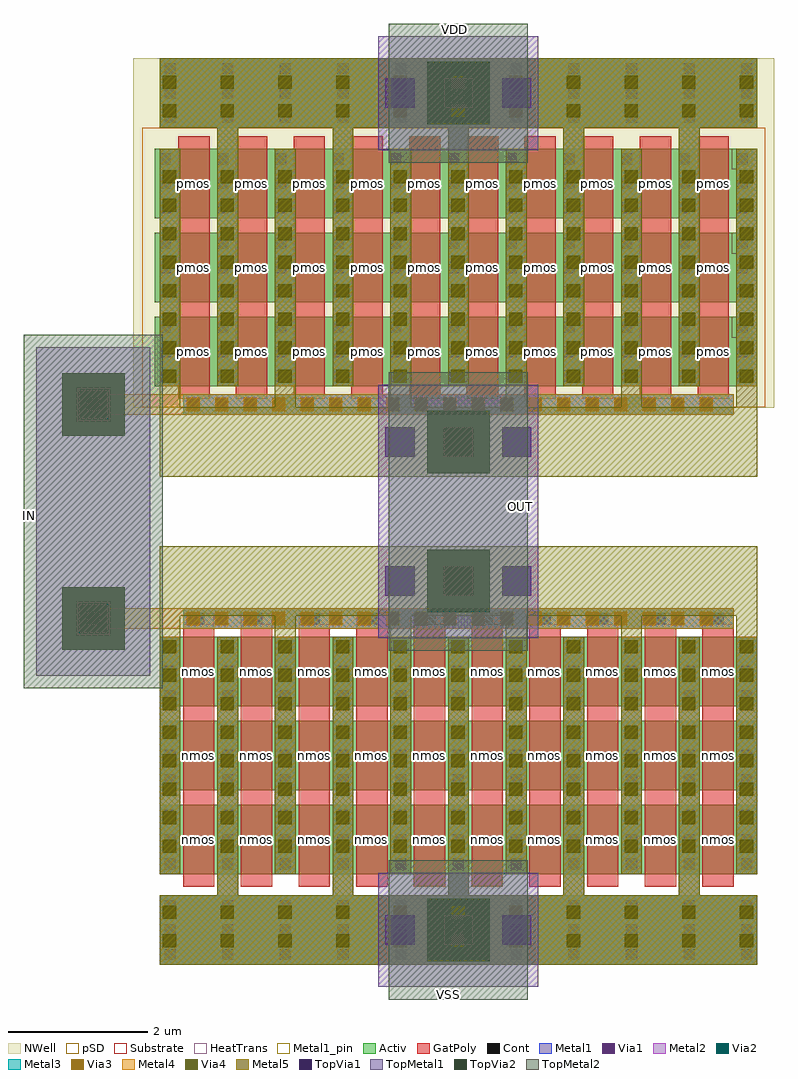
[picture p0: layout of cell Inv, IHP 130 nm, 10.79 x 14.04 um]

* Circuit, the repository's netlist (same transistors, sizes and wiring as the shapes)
* Extracted by KLayout with SG13G2 LVS runset on : 29/06/2025 18:33

.SUBCKT Inv
M$1 \$2 \$6 \$1 \$1 sg13_lv_nmos L=0.45u W=30u AS=6.15p AD=6.15p PS=45.3u
+ PD=45.3u
M$31 \$2 \$7 \$8 \$8 sg13_lv_pmos L=0.45u W=3u AS=1.02p AD=0.57p PS=8.04u
+ PD=4.14u
M$32 \$8 \$9 \$2 \$8 sg13_lv_pmos L=0.45u W=3u AS=0.57p AD=0.57p PS=4.14u
+ PD=4.14u
M$33 \$2 \$10 \$8 \$8 sg13_lv_pmos L=0.45u W=3u AS=0.57p AD=0.57p PS=4.14u
+ PD=4.14u
M$34 \$8 \$11 \$2 \$8 sg13_lv_pmos L=0.45u W=3u AS=0.57p AD=0.57p PS=4.14u
+ PD=4.14u
M$35 \$2 \$12 \$8 \$8 sg13_lv_pmos L=0.45u W=3u AS=0.57p AD=0.57p PS=4.14u
+ PD=4.14u
M$36 \$8 \$13 \$2 \$8 sg13_lv_pmos L=0.45u W=3u AS=0.57p AD=0.57p PS=4.14u
+ PD=4.14u
M$37 \$2 \$14 \$8 \$8 sg13_lv_pmos L=0.45u W=3u AS=0.57p AD=0.57p PS=4.14u
+ PD=4.14u
M$38 \$8 \$15 \$2 \$8 sg13_lv_pmos L=0.45u W=3u AS=0.57p AD=0.57p PS=4.14u
+ PD=4.14u
M$39 \$2 \$16 \$8 \$8 sg13_lv_pmos L=0.45u W=3u AS=0.57p AD=0.57p PS=4.14u
+ PD=4.14u
M$40 \$8 \$17 \$2 \$8 sg13_lv_pmos L=0.45u W=3u AS=0.57p AD=1.02p PS=4.14u
+ PD=8.04u
.ENDS Inv

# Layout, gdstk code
import gdstk
lib = gdstk.Library(unit=1e-6, precision=1e-09)
def R(c, l, rs):  # rectangles x0, y0, x1, y1
    for r in rs: c.add(gdstk.rectangle(r[:2], r[2:], *l))
def A(c, l, x, y, w, h, nx, ny, dx, dy):  # array of equal rectangles
    R(c, l, [(x+i*dx, y+j*dy, x+i*dx+w, y+j*dy+h) for i in range(nx) for j in range(ny)])
def P(c, l, *ps):  # polygons
    for p in ps: c.add(gdstk.Polygon(p, *l))
Activ = (1, 0)
GatPoly = (5, 0)
Cont = (6, 0)
Metal1 = (8, 0)
Metal1_pin = (8, 2)
Metal2 = (10, 0)
pSD = (14, 0)
Via1 = (19, 0)
Via2 = (29, 0)
Metal3 = (30, 0)
NWell = (31, 0)
Substrate = (40, 0)
Via3 = (49, 0)
Metal4 = (50, 0)
HeatTrans = (51, 0)
Via4 = (66, 0)
Metal5 = (67, 0)
TopVia1 = (125, 0)
TopMetal1 = (126, 0)
TopVia2 = (133, 0)
TopMetal2 = (134, 0)

inv = lib.new_cell('Inv')
A(inv, Activ, 67.275, -5.04, 0.3, 0.3, 11, 3, 0.83, 1.21)
A(inv, Activ, 67.275, -5.04, 8.6, 1, 1, 3, 0, 1.21)
A(inv, Activ, 67.205, 1.98, 8.6, 1, 1, 3, 0, 1.21)
A(inv, Activ, 67.205, 2.68, 0.3, 0.3, 11, 3, 0.83, 1.21)
R(inv, Activ, [(67.275,-6.34,75.875,-5.34), (67.275,5.7,75.875,6.7)])
A(inv, GatPoly, 67.615, -5.22, 0.45, 1.36, 10, 3, 0.83, 1.21)
A(inv, GatPoly, 67.615, -1.44, 0.45, 0.16, 10, 1, 0.83, 0)
A(inv, GatPoly, 67.545, 1.8, 0.45, 1.36, 1, 3, 0, 1.21)
A(inv, GatPoly, 67.545, 1.8, 0.45, 1.36, 10, 3, 0.83, 1.21)
A(inv, Cont, 67.345, -6.27, 0.16, 0.16, 11, 3, 0.83, 0.35)
A(inv, Cont, 67.345, -4.97, 0.16, 0.16, 11, 3, 0.83, 0.35)
A(inv, Cont, 67.345, -3.76, 0.16, 0.16, 11, 3, 0.83, 0.35)
A(inv, Cont, 67.345, -2.55, 0.16, 0.16, 11, 3, 0.83, 0.35)
A(inv, Cont, 67.76, -1.44, 0.16, 0.16, 10, 1, 0.83, 0)
A(inv, Cont, 67.275, 2.05, 0.16, 0.16, 11, 3, 0.83, 0.35)
A(inv, Cont, 67.275, 3.26, 0.16, 0.16, 11, 3, 0.83, 0.35)
A(inv, Cont, 67.275, 4.47, 0.16, 0.16, 11, 3, 0.83, 0.35)
A(inv, Cont, 67.345, 5.77, 0.16, 0.16, 11, 3, 0.83, 0.35)
A(inv, Metal1, 67.275, -5.04, 0.3, 3.42, 6, 2, 1.66, 7.02)
R(inv, Metal1, [(67.615,-1.51,75.535,-1.21), (67.615,1.57,75.535,1.87)])
P(inv, Metal1, [(67.275,-6.34),(67.275,-5.34),(68.105,-5.34),(68.105,-1.62),(68.405,-1.62),(68.405,-5.34),(69.765,-5.34),(69.765,-1.62),(70.065,-1.62),(70.065,-5.34),(71.425,-5.34),(71.425,-1.62),(71.725,-1.62),(71.725,-5.34),(73.085,-5.34),(73.085,-1.62),(73.385,-1.62),(73.385,-5.34),(74.745,-5.34),(74.745,-1.62),(75.045,-1.62),(75.045,-5.34),(75.875,-5.34),(75.875,-6.34)],
  [(68.105,1.98),(68.105,5.7),(67.275,5.7),(67.275,6.7),(75.875,6.7),(75.875,5.7),(75.045,5.7),(75.045,1.98),(74.745,1.98),(74.745,5.7),(73.385,5.7),(73.385,1.98),(73.085,1.98),(73.085,5.7),(71.725,5.7),(71.725,1.98),(71.425,1.98),(71.425,5.7),(70.065,5.7),(70.065,1.98),(69.765,1.98),(69.765,5.7),(68.405,5.7),(68.405,1.98)])
A(inv, Metal1_pin, 67.345, -5.04, 0.16, 1, 1, 3, 0, 1.21)
A(inv, Metal1_pin, 68.175, -5.04, 0.16, 1, 1, 3, 0, 1.21)
R(inv, Metal1_pin, [(67.345,-2.62,67.505,-1.62)])
A(inv, Metal2, 67.275, -5.04, 0.3, 3.42, 6, 2, 1.66, 7.02)
R(inv, Metal2, [(67.615,-1.51,75.535,-1.21), (67.615,1.57,75.535,1.87)])
P(inv, Metal2, [(67.275,-6.34),(67.275,-5.34),(68.105,-5.34),(68.105,-1.62),(68.405,-1.62),(68.405,-5.34),(69.765,-5.34),(69.765,-1.62),(70.065,-1.62),(70.065,-5.34),(71.425,-5.34),(71.425,-1.62),(71.725,-1.62),(71.725,-5.34),(73.085,-5.34),(73.085,-1.62),(73.385,-1.62),(73.385,-5.34),(74.745,-5.34),(74.745,-1.62),(75.045,-1.62),(75.045,-5.34),(75.875,-5.34),(75.875,-6.34)],
  [(68.105,1.98),(68.105,5.7),(67.275,5.7),(67.275,6.7),(75.875,6.7),(75.875,5.7),(75.045,5.7),(75.045,1.98),(74.745,1.98),(74.745,5.7),(73.385,5.7),(73.385,1.98),(73.085,1.98),(73.085,5.7),(71.725,5.7),(71.725,1.98),(71.425,1.98),(71.425,5.7),(70.065,5.7),(70.065,1.98),(69.765,1.98),(69.765,5.7),(68.405,5.7),(68.405,1.98)])
A(inv, pSD, 67.025, 1.68, 8.96, 1.6, 1, 3, 0, 1.21)
R(inv, pSD, [(67.275,-6.34,75.875,-5.34)])
A(inv, Via1, 67.325, -6.09, 0.19, 0.19, 11, 2, 0.83, 0.41)
A(inv, Via1, 67.325, -4.73, 0.19, 0.19, 11, 8, 0.83, 0.41)
A(inv, Via1, 67.325, 2.03, 0.19, 0.19, 11, 8, 0.83, 0.41)
A(inv, Via1, 67.325, 5.85, 0.19, 0.19, 11, 2, 0.83, 0.41)
R(inv, Via1, [(67.665,-1.455,67.855,-1.265), (68.075,-1.455,68.265,-1.265), (68.075,-1.455,68.265,-1.265), (68.075,-1.455,68.265,-1.265), (68.485,-1.455,68.675,-1.265), (68.485,-1.455,68.675,-1.265), (68.485,-1.455,68.675,-1.265), (68.895,-1.455,69.085,-1.265), (68.895,-1.455,69.085,-1.265), (68.895,-1.455,69.085,-1.265), (69.305,-1.455,69.495,-1.265), (69.305,-1.455,69.495,-1.265), (69.305,-1.455,69.495,-1.265), (69.715,-1.455,69.905,-1.265), (69.715,-1.455,69.905,-1.265), (69.715,-1.455,69.905,-1.265), (70.125,-1.455,70.315,-1.265), (70.125,-1.455,70.315,-1.265), (70.125,-1.455,70.315,-1.265), (70.535,-1.455,70.725,-1.265), (70.535,-1.455,70.725,-1.265), (70.535,-1.455,70.725,-1.265), (70.945,-1.455,71.135,-1.265), (70.945,-1.455,71.135,-1.265), (70.945,-1.455,71.135,-1.265), (71.355,-1.455,71.545,-1.265), (71.355,-1.455,71.545,-1.265), (71.765,-1.455,71.955,-1.265), (71.765,-1.455,71.955,-1.265), (72.175,-1.455,72.365,-1.265), (72.175,-1.455,72.365,-1.265), (72.585,-1.455,72.775,-1.265), (72.585,-1.455,72.775,-1.265), (72.995,-1.455,73.185,-1.265), (72.995,-1.455,73.185,-1.265), (73.405,-1.455,73.595,-1.265), (73.405,-1.455,73.595,-1.265), (73.815,-1.455,74.005,-1.265), (73.815,-1.455,74.005,-1.265), (74.225,-1.455,74.415,-1.265), (74.225,-1.455,74.415,-1.265), (74.635,-1.455,74.825,-1.265), (74.635,-1.455,74.825,-1.265), (75.045,-1.455,75.235,-1.265), (67.665,1.625,67.855,1.815), (68.075,1.625,68.265,1.815), (68.075,1.625,68.265,1.815), (68.075,1.625,68.265,1.815), (68.485,1.625,68.675,1.815), (68.485,1.625,68.675,1.815), (68.485,1.625,68.675,1.815), (68.895,1.625,69.085,1.815), (68.895,1.625,69.085,1.815), (68.895,1.625,69.085,1.815), (69.305,1.625,69.495,1.815), (69.305,1.625,69.495,1.815), (69.305,1.625,69.495,1.815), (69.715,1.625,69.905,1.815), (69.715,1.625,69.905,1.815), (69.715,1.625,69.905,1.815), (70.125,1.625,70.315,1.815), (70.125,1.625,70.315,1.815), (70.125,1.625,70.315,1.815), (70.535,1.625,70.725,1.815), (70.535,1.625,70.725,1.815), (70.535,1.625,70.725,1.815), (70.945,1.625,71.135,1.815), (70.945,1.625,71.135,1.815), (70.945,1.625,71.135,1.815), (71.355,1.625,71.545,1.815), (71.355,1.625,71.545,1.815), (71.765,1.625,71.955,1.815), (71.765,1.625,71.955,1.815), (72.175,1.625,72.365,1.815), (72.175,1.625,72.365,1.815), (72.585,1.625,72.775,1.815), (72.585,1.625,72.775,1.815), (72.995,1.625,73.185,1.815), (72.995,1.625,73.185,1.815), (73.405,1.625,73.595,1.815), (73.405,1.625,73.595,1.815), (73.815,1.625,74.005,1.815), (73.815,1.625,74.005,1.815), (74.225,1.625,74.415,1.815), (74.225,1.625,74.415,1.815), (74.635,1.625,74.825,1.815), (74.635,1.625,74.825,1.815), (75.045,1.625,75.235,1.815)])
A(inv, Via2, 67.325, -6.09, 0.19, 0.19, 11, 2, 0.83, 0.41)
A(inv, Via2, 67.325, -4.73, 0.19, 0.19, 11, 8, 0.83, 0.41)
A(inv, Via2, 67.325, 2.03, 0.19, 0.19, 11, 8, 0.83, 0.41)
A(inv, Via2, 67.325, 5.85, 0.19, 0.19, 11, 2, 0.83, 0.41)
R(inv, Via2, [(67.665,-1.455,67.855,-1.265), (68.075,-1.455,68.265,-1.265), (68.075,-1.455,68.265,-1.265), (68.075,-1.455,68.265,-1.265), (68.485,-1.455,68.675,-1.265), (68.485,-1.455,68.675,-1.265), (68.485,-1.455,68.675,-1.265), (68.895,-1.455,69.085,-1.265), (68.895,-1.455,69.085,-1.265), (68.895,-1.455,69.085,-1.265), (69.305,-1.455,69.495,-1.265), (69.305,-1.455,69.495,-1.265), (69.305,-1.455,69.495,-1.265), (69.715,-1.455,69.905,-1.265), (69.715,-1.455,69.905,-1.265), (69.715,-1.455,69.905,-1.265), (70.125,-1.455,70.315,-1.265), (70.125,-1.455,70.315,-1.265), (70.125,-1.455,70.315,-1.265), (70.535,-1.455,70.725,-1.265), (70.535,-1.455,70.725,-1.265), (70.535,-1.455,70.725,-1.265), (70.945,-1.455,71.135,-1.265), (70.945,-1.455,71.135,-1.265), (70.945,-1.455,71.135,-1.265), (71.355,-1.455,71.545,-1.265), (71.355,-1.455,71.545,-1.265), (71.765,-1.455,71.955,-1.265), (71.765,-1.455,71.955,-1.265), (72.175,-1.455,72.365,-1.265), (72.175,-1.455,72.365,-1.265), (72.585,-1.455,72.775,-1.265), (72.585,-1.455,72.775,-1.265), (72.995,-1.455,73.185,-1.265), (72.995,-1.455,73.185,-1.265), (73.405,-1.455,73.595,-1.265), (73.405,-1.455,73.595,-1.265), (73.815,-1.455,74.005,-1.265), (73.815,-1.455,74.005,-1.265), (74.225,-1.455,74.415,-1.265), (74.225,-1.455,74.415,-1.265), (74.635,-1.455,74.825,-1.265), (74.635,-1.455,74.825,-1.265), (75.045,-1.455,75.235,-1.265), (67.665,1.625,67.855,1.815), (68.075,1.625,68.265,1.815), (68.075,1.625,68.265,1.815), (68.075,1.625,68.265,1.815), (68.485,1.625,68.675,1.815), (68.485,1.625,68.675,1.815), (68.485,1.625,68.675,1.815), (68.895,1.625,69.085,1.815), (68.895,1.625,69.085,1.815), (68.895,1.625,69.085,1.815), (69.305,1.625,69.495,1.815), (69.305,1.625,69.495,1.815), (69.305,1.625,69.495,1.815), (69.715,1.625,69.905,1.815), (69.715,1.625,69.905,1.815), (69.715,1.625,69.905,1.815), (70.125,1.625,70.315,1.815), (70.125,1.625,70.315,1.815), (70.125,1.625,70.315,1.815), (70.535,1.625,70.725,1.815), (70.535,1.625,70.725,1.815), (70.535,1.625,70.725,1.815), (70.945,1.625,71.135,1.815), (70.945,1.625,71.135,1.815), (70.945,1.625,71.135,1.815), (71.355,1.625,71.545,1.815), (71.355,1.625,71.545,1.815), (71.765,1.625,71.955,1.815), (71.765,1.625,71.955,1.815), (72.175,1.625,72.365,1.815), (72.175,1.625,72.365,1.815), (72.585,1.625,72.775,1.815), (72.585,1.625,72.775,1.815), (72.995,1.625,73.185,1.815), (72.995,1.625,73.185,1.815), (73.405,1.625,73.595,1.815), (73.405,1.625,73.595,1.815), (73.815,1.625,74.005,1.815), (73.815,1.625,74.005,1.815), (74.225,1.625,74.415,1.815), (74.225,1.625,74.415,1.815), (74.635,1.625,74.825,1.815), (74.635,1.625,74.825,1.815), (75.045,1.625,75.235,1.815)])
A(inv, Metal3, 67.275, -5.04, 0.3, 3.42, 6, 2, 1.66, 7.02)
R(inv, Metal3, [(67.615,-1.51,75.535,-1.21), (67.615,1.57,75.535,1.87)])
P(inv, Metal3, [(67.275,-6.34),(67.275,-5.34),(68.105,-5.34),(68.105,-1.62),(68.405,-1.62),(68.405,-5.34),(69.765,-5.34),(69.765,-1.62),(70.065,-1.62),(70.065,-5.34),(71.425,-5.34),(71.425,-1.62),(71.725,-1.62),(71.725,-5.34),(73.085,-5.34),(73.085,-1.62),(73.385,-1.62),(73.385,-5.34),(74.745,-5.34),(74.745,-1.62),(75.045,-1.62),(75.045,-5.34),(75.875,-5.34),(75.875,-6.34)],
  [(68.105,1.98),(68.105,5.7),(67.275,5.7),(67.275,6.7),(75.875,6.7),(75.875,5.7),(75.045,5.7),(75.045,1.98),(74.745,1.98),(74.745,5.7),(73.385,5.7),(73.385,1.98),(73.085,1.98),(73.085,5.7),(71.725,5.7),(71.725,1.98),(71.425,1.98),(71.425,5.7),(70.065,5.7),(70.065,1.98),(69.765,1.98),(69.765,5.7),(68.405,5.7),(68.405,1.98)])
R(inv, NWell, [(66.895,1.67,76.115,6.7)])
A(inv, Substrate, 75.505, 2.68, 0.3, 0.3, 1, 3, 0, 1.21)
A(inv, Via3, 67.325, -6.09, 0.19, 0.19, 11, 2, 0.83, 0.41)
A(inv, Via3, 67.325, -4.73, 0.19, 0.19, 11, 8, 0.83, 0.41)
A(inv, Via3, 67.325, 2.03, 0.19, 0.19, 11, 8, 0.83, 0.41)
A(inv, Via3, 67.325, 5.85, 0.19, 0.19, 11, 2, 0.83, 0.41)
R(inv, Via3, [(67.665,-1.455,67.855,-1.265), (68.075,-1.455,68.265,-1.265), (68.075,-1.455,68.265,-1.265), (68.075,-1.455,68.265,-1.265), (68.485,-1.455,68.675,-1.265), (68.485,-1.455,68.675,-1.265), (68.485,-1.455,68.675,-1.265), (68.895,-1.455,69.085,-1.265), (68.895,-1.455,69.085,-1.265), (68.895,-1.455,69.085,-1.265), (69.305,-1.455,69.495,-1.265), (69.305,-1.455,69.495,-1.265), (69.305,-1.455,69.495,-1.265), (69.715,-1.455,69.905,-1.265), (69.715,-1.455,69.905,-1.265), (69.715,-1.455,69.905,-1.265), (70.125,-1.455,70.315,-1.265), (70.125,-1.455,70.315,-1.265), (70.125,-1.455,70.315,-1.265), (70.535,-1.455,70.725,-1.265), (70.535,-1.455,70.725,-1.265), (70.535,-1.455,70.725,-1.265), (70.945,-1.455,71.135,-1.265), (70.945,-1.455,71.135,-1.265), (70.945,-1.455,71.135,-1.265), (71.355,-1.455,71.545,-1.265), (71.355,-1.455,71.545,-1.265), (71.765,-1.455,71.955,-1.265), (71.765,-1.455,71.955,-1.265), (72.175,-1.455,72.365,-1.265), (72.175,-1.455,72.365,-1.265), (72.585,-1.455,72.775,-1.265), (72.585,-1.455,72.775,-1.265), (72.995,-1.455,73.185,-1.265), (72.995,-1.455,73.185,-1.265), (73.405,-1.455,73.595,-1.265), (73.405,-1.455,73.595,-1.265), (73.815,-1.455,74.005,-1.265), (73.815,-1.455,74.005,-1.265), (74.225,-1.455,74.415,-1.265), (74.225,-1.455,74.415,-1.265), (74.635,-1.455,74.825,-1.265), (74.635,-1.455,74.825,-1.265), (75.045,-1.455,75.235,-1.265), (67.665,1.625,67.855,1.815), (68.075,1.625,68.265,1.815), (68.075,1.625,68.265,1.815), (68.075,1.625,68.265,1.815), (68.485,1.625,68.675,1.815), (68.485,1.625,68.675,1.815), (68.485,1.625,68.675,1.815), (68.895,1.625,69.085,1.815), (68.895,1.625,69.085,1.815), (68.895,1.625,69.085,1.815), (69.305,1.625,69.495,1.815), (69.305,1.625,69.495,1.815), (69.305,1.625,69.495,1.815), (69.715,1.625,69.905,1.815), (69.715,1.625,69.905,1.815), (69.715,1.625,69.905,1.815), (70.125,1.625,70.315,1.815), (70.125,1.625,70.315,1.815), (70.125,1.625,70.315,1.815), (70.535,1.625,70.725,1.815), (70.535,1.625,70.725,1.815), (70.535,1.625,70.725,1.815), (70.945,1.625,71.135,1.815), (70.945,1.625,71.135,1.815), (70.945,1.625,71.135,1.815), (71.355,1.625,71.545,1.815), (71.355,1.625,71.545,1.815), (71.765,1.625,71.955,1.815), (71.765,1.625,71.955,1.815), (72.175,1.625,72.365,1.815), (72.175,1.625,72.365,1.815), (72.585,1.625,72.775,1.815), (72.585,1.625,72.775,1.815), (72.995,1.625,73.185,1.815), (72.995,1.625,73.185,1.815), (73.405,1.625,73.595,1.815), (73.405,1.625,73.595,1.815), (73.815,1.625,74.005,1.815), (73.815,1.625,74.005,1.815), (74.225,1.625,74.415,1.815), (74.225,1.625,74.415,1.815), (74.635,1.625,74.825,1.815), (74.635,1.625,74.825,1.815), (75.045,1.625,75.235,1.815)])
A(inv, Metal4, 67.275, -5.04, 0.3, 3.42, 6, 2, 1.66, 7.02)
P(inv, Metal4, [(67.275,-6.34),(67.275,-5.34),(68.105,-5.34),(68.105,-1.62),(68.405,-1.62),(68.405,-5.34),(69.765,-5.34),(69.765,-1.62),(70.065,-1.62),(70.065,-5.34),(71.425,-5.34),(71.425,-1.62),(71.725,-1.62),(71.725,-5.34),(73.085,-5.34),(73.085,-1.62),(73.385,-1.62),(73.385,-5.34),(74.745,-5.34),(74.745,-1.62),(75.045,-1.62),(75.045,-5.34),(75.875,-5.34),(75.875,-6.34)],
  [(66.075,-1.61),(66.075,-1.11),(66.575,-1.11),(66.575,-1.21),(75.535,-1.21),(75.535,-1.51),(66.575,-1.51),(66.575,-1.61)],
  [(66.075,1.47),(66.075,1.97),(66.575,1.97),(66.575,1.87),(75.535,1.87),(75.535,1.57),(66.575,1.57),(66.575,1.47)],
  [(68.105,1.98),(68.105,5.7),(67.275,5.7),(67.275,6.7),(75.875,6.7),(75.875,5.7),(75.045,5.7),(75.045,1.98),(74.745,1.98),(74.745,5.7),(73.385,5.7),(73.385,1.98),(73.085,1.98),(73.085,5.7),(71.725,5.7),(71.725,1.98),(71.425,1.98),(71.425,5.7),(70.065,5.7),(70.065,1.98),(69.765,1.98),(69.765,5.7),(68.405,5.7),(68.405,1.98)])
A(inv, HeatTrans, 67.615, -5.22, 0.45, 1.36, 10, 3, 0.83, 1.21)
A(inv, HeatTrans, 67.545, 1.8, 0.45, 1.36, 10, 3, 0.83, 1.21)
A(inv, Via4, 67.325, -6.09, 0.19, 0.19, 11, 2, 0.83, 0.41)
A(inv, Via4, 67.325, -4.73, 0.19, 0.19, 11, 8, 0.83, 0.41)
A(inv, Via4, 67.325, 2.03, 0.19, 0.19, 11, 8, 0.83, 0.41)
A(inv, Via4, 67.325, 5.85, 0.19, 0.19, 11, 2, 0.83, 0.41)
R(inv, Via4, [(66.23,-1.455,66.42,-1.265), (66.23,1.625,66.42,1.815)])
R(inv, Metal5, [(66.075,-1.61,66.575,-1.11), (66.075,1.47,66.575,1.97)])
P(inv, Metal5, [(67.275,-6.34),(67.275,-5.34),(68.105,-5.34),(68.105,-1.62),(68.405,-1.62),(68.405,-5.34),(69.765,-5.34),(69.765,-1.62),(70.065,-1.62),(70.065,-5.34),(71.425,-5.34),(71.425,-1.62),(71.725,-1.62),(71.725,-5.34),(73.085,-5.34),(73.085,-1.62),(73.385,-1.62),(73.385,-5.34),(74.745,-5.34),(74.745,-1.62),(75.045,-1.62),(75.045,-5.34),(75.875,-5.34),(75.875,-6.34)],
  [(67.275,-5.04),(67.275,-0.32),(75.875,-0.32),(75.875,-5.04),(75.575,-5.04),(75.575,-1.32),(74.215,-1.32),(74.215,-5.04),(73.915,-5.04),(73.915,-1.32),(72.555,-1.32),(72.555,-5.04),(72.255,-5.04),(72.255,-1.32),(70.895,-1.32),(70.895,-5.04),(70.595,-5.04),(70.595,-1.32),(69.235,-1.32),(69.235,-5.04),(68.935,-5.04),(68.935,-1.32),(67.575,-1.32),(67.575,-5.04)],
  [(67.275,0.68),(67.275,5.4),(67.575,5.4),(67.575,1.68),(68.935,1.68),(68.935,5.4),(69.235,5.4),(69.235,1.68),(70.595,1.68),(70.595,5.4),(70.895,5.4),(70.895,1.68),(72.255,1.68),(72.255,5.4),(72.555,5.4),(72.555,1.68),(73.915,1.68),(73.915,5.4),(74.215,5.4),(74.215,1.68),(75.575,1.68),(75.575,5.4),(75.875,5.4),(75.875,0.68)],
  [(68.105,1.98),(68.105,5.7),(67.275,5.7),(67.275,6.7),(75.875,6.7),(75.875,5.7),(75.045,5.7),(75.045,1.98),(74.745,1.98),(74.745,5.7),(73.385,5.7),(73.385,1.98),(73.085,1.98),(73.085,5.7),(71.725,5.7),(71.725,1.98),(71.425,1.98),(71.425,5.7),(70.065,5.7),(70.065,1.98),(69.765,1.98),(69.765,5.7),(68.405,5.7),(68.405,1.98)])
A(inv, TopVia1, 70.525, -6.05, 0.42, 0.42, 3, 2, 0.84, 5.02)
A(inv, TopVia1, 70.525, 0.97, 0.42, 0.42, 3, 2, 0.84, 5.02)
R(inv, TopVia1, [(66.115,-1.57,66.535,-1.15), (66.115,1.51,66.535,1.93)])
R(inv, TopMetal1, [(70.425,-6.66,72.725,-5.02), (65.505,-2.18,67.145,2.54), (70.425,-1.64,72.725,2), (70.425,5.38,72.725,7.02)])
R(inv, TopVia2, [(71.125,-6.29,72.025,-5.39), (65.875,-1.81,66.775,-0.91), (71.125,-1.27,72.025,-0.37), (71.125,0.73,72.025,1.63), (65.875,1.27,66.775,2.17), (71.125,5.75,72.025,6.65)])
R(inv, TopMetal2, [(70.575,-6.84,72.575,-4.84), (65.325,-2.36,67.325,2.72), (70.575,-1.82,72.575,2.18), (70.575,5.2,72.575,7.2)])
inv.add(gdstk.Label('pmos', (67.77,4.9), layer=63, texttype=0))
inv.add(gdstk.Label('pmos', (67.77,3.69), layer=63, texttype=0))
inv.add(gdstk.Label('pmos', (67.77,2.48), layer=63, texttype=0))
inv.add(gdstk.Label('nmos', (67.84,-4.54), layer=63, texttype=0))
inv.add(gdstk.Label('nmos', (67.84,-3.33), layer=63, texttype=0))
inv.add(gdstk.Label('nmos', (67.84,-2.12), layer=63, texttype=0))
inv.add(gdstk.Label('pmos', (71.09,4.9), layer=51, texttype=0))
inv.add(gdstk.Label('pmos', (71.92,4.9), layer=51, texttype=0))
inv.add(gdstk.Label('pmos', (72.75,4.9), layer=51, texttype=0))
inv.add(gdstk.Label('pmos', (73.58,4.9), layer=51, texttype=0))
inv.add(gdstk.Label('pmos', (74.41,4.9), layer=51, texttype=0))
inv.add(gdstk.Label('pmos', (75.24,4.9), layer=51, texttype=0))
inv.add(gdstk.Label('pmos', (67.77,3.69), layer=51, texttype=0))
inv.add(gdstk.Label('pmos', (67.77,2.48), layer=51, texttype=0))
inv.add(gdstk.Label('pmos', (68.6,3.69), layer=51, texttype=0))
inv.add(gdstk.Label('pmos', (68.6,2.48), layer=51, texttype=0))
inv.add(gdstk.Label('pmos', (69.43,3.69), layer=51, texttype=0))
inv.add(gdstk.Label('pmos', (69.43,2.48), layer=51, texttype=0))
inv.add(gdstk.Label('pmos', (70.26,3.69), layer=51, texttype=0))
inv.add(gdstk.Label('pmos', (70.26,2.48), layer=51, texttype=0))
inv.add(gdstk.Label('pmos', (71.09,3.69), layer=51, texttype=0))
inv.add(gdstk.Label('pmos', (71.09,2.48), layer=51, texttype=0))
inv.add(gdstk.Label('pmos', (71.92,3.69), layer=51, texttype=0))
inv.add(gdstk.Label('pmos', (71.92,2.48), layer=51, texttype=0))
inv.add(gdstk.Label('pmos', (72.75,3.69), layer=51, texttype=0))
inv.add(gdstk.Label('pmos', (72.75,2.48), layer=51, texttype=0))
inv.add(gdstk.Label('pmos', (73.58,3.69), layer=51, texttype=0))
inv.add(gdstk.Label('pmos', (73.58,2.48), layer=51, texttype=0))
inv.add(gdstk.Label('pmos', (74.41,3.69), layer=51, texttype=0))
inv.add(gdstk.Label('pmos', (74.41,2.48), layer=51, texttype=0))
inv.add(gdstk.Label('pmos', (75.24,3.69), layer=51, texttype=0))
inv.add(gdstk.Label('pmos', (75.24,2.48), layer=51, texttype=0))
inv.add(gdstk.Label('pmos', (67.77,4.9), layer=51, texttype=0))
inv.add(gdstk.Label('pmos', (68.6,4.9), layer=51, texttype=0))
inv.add(gdstk.Label('pmos', (69.43,4.9), layer=51, texttype=0))
inv.add(gdstk.Label('pmos', (70.26,4.9), layer=51, texttype=0))
inv.add(gdstk.Label('nmos', (67.84,-3.33), layer=51, texttype=0))
inv.add(gdstk.Label('nmos', (67.84,-2.12), layer=51, texttype=0))
inv.add(gdstk.Label('nmos', (75.31,-4.54), layer=51, texttype=0))
inv.add(gdstk.Label('nmos', (74.48,-4.54), layer=51, texttype=0))
inv.add(gdstk.Label('nmos', (73.65,-4.54), layer=51, texttype=0))
inv.add(gdstk.Label('nmos', (72.82,-4.54), layer=51, texttype=0))
inv.add(gdstk.Label('nmos', (71.99,-4.54), layer=51, texttype=0))
inv.add(gdstk.Label('nmos', (71.16,-4.54), layer=51, texttype=0))
inv.add(gdstk.Label('nmos', (70.33,-4.54), layer=51, texttype=0))
inv.add(gdstk.Label('nmos', (69.5,-4.54), layer=51, texttype=0))
inv.add(gdstk.Label('nmos', (68.67,-4.54), layer=51, texttype=0))
inv.add(gdstk.Label('nmos', (67.84,-4.54), layer=51, texttype=0))
inv.add(gdstk.Label('nmos', (75.31,-3.33), layer=51, texttype=0))
inv.add(gdstk.Label('nmos', (75.31,-2.12), layer=51, texttype=0))
inv.add(gdstk.Label('nmos', (74.48,-3.33), layer=51, texttype=0))
inv.add(gdstk.Label('nmos', (74.48,-2.12), layer=51, texttype=0))
inv.add(gdstk.Label('nmos', (73.65,-3.33), layer=51, texttype=0))
inv.add(gdstk.Label('nmos', (73.65,-2.12), layer=51, texttype=0))
inv.add(gdstk.Label('nmos', (72.82,-3.33), layer=51, texttype=0))
inv.add(gdstk.Label('nmos', (72.82,-2.12), layer=51, texttype=0))
inv.add(gdstk.Label('nmos', (71.99,-3.33), layer=51, texttype=0))
inv.add(gdstk.Label('nmos', (71.99,-2.12), layer=51, texttype=0))
inv.add(gdstk.Label('nmos', (71.16,-3.33), layer=51, texttype=0))
inv.add(gdstk.Label('nmos', (71.16,-2.12), layer=51, texttype=0))
inv.add(gdstk.Label('nmos', (70.33,-3.33), layer=51, texttype=0))
inv.add(gdstk.Label('nmos', (70.33,-2.12), layer=51, texttype=0))
inv.add(gdstk.Label('nmos', (69.5,-3.33), layer=51, texttype=0))
inv.add(gdstk.Label('nmos', (69.5,-2.12), layer=51, texttype=0))
inv.add(gdstk.Label('nmos', (68.67,-3.33), layer=51, texttype=0))
inv.add(gdstk.Label('nmos', (68.67,-2.12), layer=51, texttype=0))
inv.add(gdstk.Label('IN', (65.405,0.125), layer=134, texttype=0))
inv.add(gdstk.Label('OUT', (72.465,0.245), layer=134, texttype=0))
inv.add(gdstk.Label('VSS', (71.43,-6.77), layer=134, texttype=0))
inv.add(gdstk.Label('VDD', (71.52,7.11), layer=134, texttype=0))

lib.write_gds('Inv.gds')
